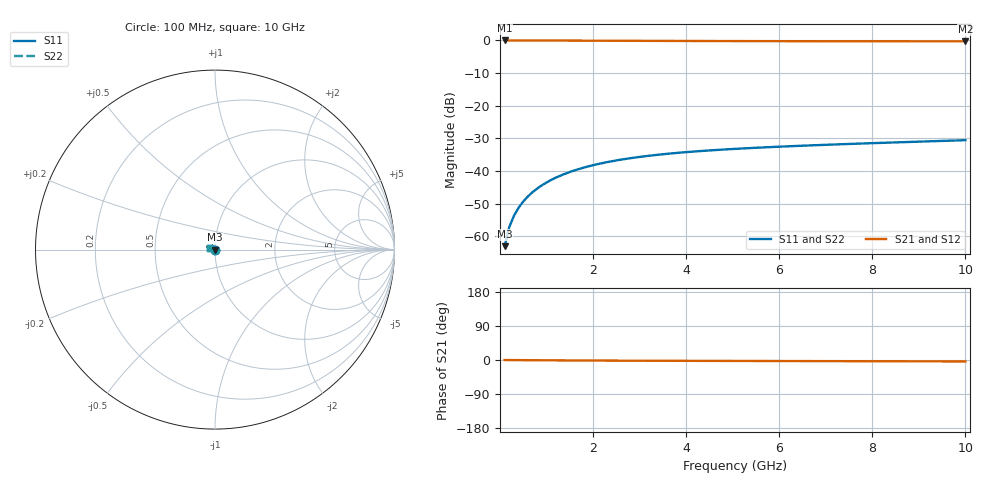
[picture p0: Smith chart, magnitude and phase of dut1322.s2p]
! Touchstone file exported from HFSS 2024.1.0
!  File:  C:/UserFiles/LocalFiles/RDL_TSV_Batchsim/temp_TSV1_1322_1780374500.aedt
!  Generated:  12:32:59 PM Jun  2, 2026
!  Design:  TSV1
!  Project:  temp_TSV1_1322_1780374500
!  Setup:  Setup1
!  Solution:  Sweep
! Variables:
!  dtsv = 8.22um
!  hbump = 3um
!  htsv = 54.49um
!  lrdl = 252.1521522um
!  p = 40
!  p1 = 49.67um
!  t = 500um
!  trdl = 3um
!  wrdl = 24.89489489um
# GHz S MA R 50.000000
! Terminal data exported
! Port[1] = TSV22_T1
! Port[2] = TSV22_T2
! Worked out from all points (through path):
!   100 points, 100 MHz to 10 GHz, reference 50 ohm
!   highest |S21| = 0.00 dB at 100 MHz (marker M1); lowest = -0.3 dB at 10 GHz (marker M2)
!   lowest |S11| = -63.0 dB at 100 MHz (marker M3), VSWR 1.00, Z = 50 - j0.0696 ohm
!   |S11| at or under -10 dB: start of sweep to end of sweep
!   |S22| runs from -63.0 to -30.5 dB; largest |S21 - S12| = 3e-15
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0.1  0.0007111 -78.0  0.9998 -0.1  0.9998 -0.1  0.0007111 -78.0
! Gamma 0 0 0 0
! Port Impedance 50 0 50 0
0.2  0.001389 -87.0  0.9997 -0.2  0.9997 -0.2  0.001389 -87.0
0.3  0.002072 -91.4  0.9996 -0.3  0.9996 -0.3  0.002072 -91.4
0.4  0.002753 -94.6  0.9994 -0.3  0.9994 -0.3  0.002753 -94.6
0.5  0.00343 -97.3  0.9992 -0.4  0.9992 -0.4  0.00343 -97.3
0.6  0.004102 -99.8  0.9989 -0.5  0.9989 -0.5  0.004102 -99.8
0.7  0.004766 -102.1  0.9986 -0.6  0.9986 -0.6  0.004766 -102.1
0.8  0.005422 -104.3  0.9982 -0.7  0.9982 -0.7  0.005422 -104.3
0.9  0.006069 -106.5  0.9978 -0.7  0.9978 -0.7  0.006069 -106.5
1.1  0.007329 -110.5  0.9969 -0.9  0.9969 -0.9  0.007329 -110.5
1.4  0.009125 -116.3  0.9954 -1.1  0.9954 -1.1  0.009125 -116.3
1.6  0.01025 -119.9  0.9943 -1.2  0.9943 -1.2  0.01025 -119.9
1.8  0.01132 -123.4  0.9932 -1.3  0.9932 -1.3  0.01132 -123.4
2.1  0.01281 -128.4  0.9915 -1.5  0.9915 -1.5  0.01281 -128.4
2.5  0.01459 -134.7  0.9892 -1.7  0.9892 -1.7  0.01459 -134.7
2.9  0.01615 -140.4  0.9869 -1.8  0.9869 -1.8  0.01615 -140.4
3.4  0.01783 -146.9  0.9844 -2.0  0.9844 -2.0  0.01783 -146.9
4.2  0.02004 -156.1  0.9809 -2.3  0.9809 -2.3  0.02004 -156.1
5.1  0.02202 -165.0  0.9777 -2.5  0.9777 -2.5  0.02202 -165.0
6.7  0.02482 -177.9  0.9738 -2.9  0.9738 -2.9  0.02482 -177.9
8.4  0.02739 171.2  0.9711 -3.3  0.9711 -3.3  0.02739 171.2
10  0.02976 162.7  0.9693 -3.8  0.9693 -3.8  0.02976 162.7
